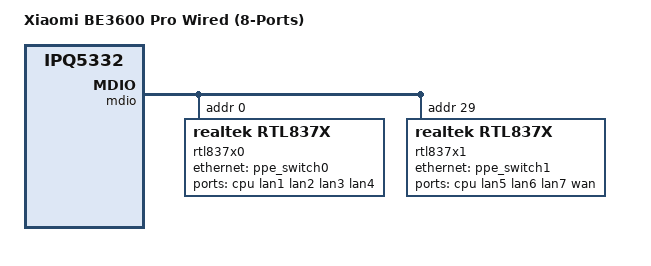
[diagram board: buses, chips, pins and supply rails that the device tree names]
// SPDX-License-Identifier: (GPL-2.0+ OR BSD-3-Clause)

/dts-v1/;

#include "ipq5332-be3600-pro-wired-common.dtsi"

/ {
	model = "Xiaomi BE3600 Pro Wired (8-Ports)";
	compatible = "xiaomi,be3600-pro-wired-p8", "qcom,ipq5332";
};

&mdio {
	rtl837x0: rtl837x-dsa@0 {
		compatible = "realtek,rtl837x";
		reg = <0>;
		#address-cells = <1>;
		#size-cells = <0>;
		realtek,preserve-boot-config;
		realtek,rtl8372n-led-init;
		realtek,quarantine-before-conduit;
		realtek,dsa-svlan;
		rtl837x,sds1mode = "10g-usxg";
		dsa,member = <0 0>;

		ports {
			#address-cells = <1>;
			#size-cells = <0>;

			port@8 {
				reg = <8>;
				label = "cpu";
				ethernet = <&ppe_switch0>;
				phy-mode = "usxgmii";

				fixed-link {
					speed = <10000>;
					full-duplex;
				};
			};

			port@7 {
				reg = <7>;
				label = "lan1";
				phy-mode = "internal";
			};

			port@6 {
				reg = <6>;
				label = "lan2";
				phy-mode = "internal";
			};

			port@5 {
				reg = <5>;
				label = "lan3";
				phy-mode = "internal";
			};

			port@4 {
				reg = <4>;
				label = "lan4";
				phy-mode = "internal";
			};
		};
	};

	rtl837x1: rtl837x-dsa@29 {
		compatible = "realtek,rtl837x";
		reg = <29>;
		#address-cells = <1>;
		#size-cells = <0>;
		realtek,preserve-boot-config;
		realtek,rtl8372n-led-init;
		realtek,quarantine-before-conduit;
		realtek,reinit-cpu-serdes;
		realtek,dsa-svlan;
		realtek,init-after = <&rtl837x0>;
		rtl837x,sds1mode = "10g-usxg";
		dsa,member = <1 0>;

		ports {
			#address-cells = <1>;
			#size-cells = <0>;

			port@8 {
				reg = <8>;
				label = "cpu";
				ethernet = <&ppe_switch1>;
				phy-mode = "usxgmii";

				fixed-link {
					speed = <10000>;
					full-duplex;
					pause;
				};
			};

			port@7 {
				reg = <7>;
				label = "lan5";
				phy-mode = "internal";
			};

			port@6 {
				reg = <6>;
				label = "lan6";
				phy-mode = "internal";
			};

			port@5 {
				reg = <5>;
				label = "lan7";
				phy-mode = "internal";
			};

			port@4 {
				reg = <4>;
				label = "wan";
				phy-mode = "internal";
			};
		};
	};
};

&qcom_ppe {
	ethernet-ports {
		ppe_switch0: port@1 {
			fixed-link {
				speed = <10000>;
				full-duplex;
			};
		};

		ppe_switch1: port@2 {
			fixed-link {
				speed = <10000>;
				full-duplex;
				pause;
			};
		};
	};
};
